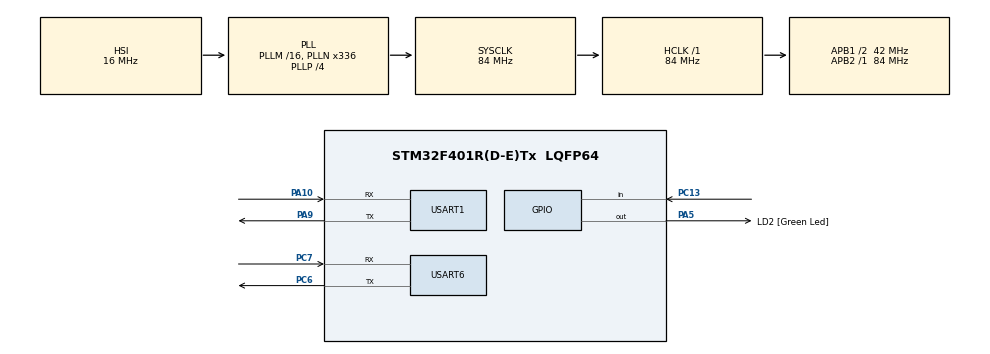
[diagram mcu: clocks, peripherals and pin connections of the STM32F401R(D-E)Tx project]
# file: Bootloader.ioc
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Mcu.Family=STM32F4
Mcu.Name=STM32F401R(D-E)Tx
Mcu.Package=LQFP64
NVIC.PriorityGroup=NVIC_PRIORITYGROUP_0
PA10.Mode=Asynchronous
PA10.Signal=USART1_RX
PA13.GPIO_Label=TMS
PA13.Mode=Serial_Wire
PA13.Signal=SYS_JTMS-SWDIO
PA14.GPIO_Label=TCK
PA14.Mode=Serial_Wire
PA14.Signal=SYS_JTCK-SWCLK
PA5.GPIO_Label=LD2 [Green Led]
PA5.GPIO_Mode=GPIO_MODE_OUTPUT_PP
PA5.GPIO_PuPd=GPIO_NOPULL
PA5.GPIO_Speed=GPIO_SPEED_FREQ_LOW
PA5.Signal=GPIO_Output
PA9.Mode=Asynchronous
PA9.Signal=USART1_TX
PB3.GPIO_Label=SWO
PB3.Signal=SYS_JTDO-SWO
PC13-ANTI_TAMP.GPIO_PuPd=GPIO_PULLUP
PC13-ANTI_TAMP.Signal=GPIO_Input
PC14-OSC32_IN.Mode=LSE-External-Oscillator
PC14-OSC32_IN.Signal=RCC_OSC32_IN
PC15-OSC32_OUT.Mode=LSE-External-Oscillator
PC15-OSC32_OUT.Signal=RCC_OSC32_OUT
PC6.Mode=Asynchronous
PC6.Signal=USART6_TX
PC7.Mode=Asynchronous
PC7.Signal=USART6_RX
PH0\ -\ OSC_IN.Mode=HSE-External-Clock-Source
PH0\ -\ OSC_IN.Signal=RCC_OSC_IN
PH1\ -\ OSC_OUT.Mode=HSE-External-Clock-Source
PH1\ -\ OSC_OUT.Signal=RCC_OSC_OUT
ProjectManager.HeapSize=0x200
ProjectManager.StackSize=0x400
ProjectManager.TargetToolchain=STM32CubeIDE
RCC.48MHZClocksFreq_Value=48000000
RCC.AHBFreq_Value=84000000
RCC.APB1CLKDivider=RCC_HCLK_DIV2
RCC.APB1Freq_Value=42000000
RCC.APB1TimFreq_Value=84000000
RCC.APB2Freq_Value=84000000
RCC.APB2TimFreq_Value=84000000
RCC.CortexFreq_Value=84000000
RCC.HCLKFreq_Value=84000000
RCC.HSE_VALUE=8000000
RCC.HSI_VALUE=16000000
RCC.PLLN=336
RCC.PLLP=RCC_PLLP_DIV4
RCC.PLLQ=7
RCC.SYSCLKFreq_VALUE=84000000
RCC.SYSCLKSource=RCC_SYSCLKSOURCE_PLLCLK
RCC.VCOOutputFreq_Value=336000000
USART1.VirtualMode=VM_ASYNC
USART6.VirtualMode=VM_ASYNC
board=NUCLEO-F401RE

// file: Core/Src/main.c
/* USER CODE BEGIN Header */
/**
  ******************************************************************************
  * @file           : main.c
  * @brief          : Main program body
  ******************************************************************************
  * @attention
  *
  * Copyright (c) 2023 STMicroelectronics.
  * All rights reserved.
  *
  * This software is licensed under terms that can be found in the LICENSE file
  * in the root directory of this software component.
  * If no LICENSE file comes with this software, it is provided AS-IS.
  *
  ******************************************************************************
  */
/* USER CODE END Header */
#include "main.h"

/* USER CODE BEGIN Includes */
#include <stdio.h>
#include <stdlib.h>
#include "stm32f4xx_hal_flash.h"
#include <string.h>
#include <FLASH_SECTOR_F4.h>
//#include <etx_ota_update.h>
/* USER CODE END Includes */

/* USER CODE BEGIN PTD */
# define version_0 0
# define version_1 1

/* USER CODE END PTD */

/* USER CODE BEGIN PD */
const uint8_t bootloader_version[2] = {version_0,version_1};
GPIO_PinState status_of_GPIO = GPIO_PIN_SET;
char pdata[1024];
char receive_byte[3];
char temp[16];
uint32_t update_firmware_address = 0X08060000;
int numPackets;
int sofar = 0;
/* USER CODE END PD */

UART_HandleTypeDef huart1;
UART_HandleTypeDef huart6;
//CRC_HandleTypeDef hcrc;

void SystemClock_Config(void);
static void MX_GPIO_Init(void);
static void MX_USART1_UART_Init(void);
static void MX_USART6_UART_Init(void);
/* USER CODE BEGIN PFP */
void run_application(void);

/* USER CODE END PFP */

/* USER CODE BEGIN 0 */
void run_application(void){

	printf("Jumping to application \r\n");
	uint8_t ch[] = "Jumping to application \r\n";
	HAL_UART_Transmit(&huart1, ch, sizeof(ch), HAL_MAX_DELAY);
	void (*reset_handler_applicaiton)(void) = (void*)(*(volatile uint32_t*)(0X08040000+4));

	HAL_GPIO_WritePin(GPIOA, GPIO_PIN_5, GPIO_PIN_RESET); //turn off led

	reset_handler_applicaiton();

	//set MSP - in STM32 cube - startup file takes care - so not required

}
/* USER CODE END 0 */

int main(void)
{

  /* MCU Configuration--------------------------------------------------------*/

  /* Reset of all peripherals, Initializes the Flash interface and the Systick. */
  HAL_Init();

  /* Configure the system clock */
  SystemClock_Config();

  /* Initialize all configured peripherals */
  MX_GPIO_Init();
  MX_USART1_UART_Init();
  MX_USART6_UART_Init();
  /* USER CODE BEGIN 2 */
  printf("*****Bootloader Started*****\r\n");
  HAL_GPIO_WritePin(GPIOA, GPIO_PIN_5, GPIO_PIN_SET); //turn on led
  HAL_Delay(1000);
  char pdat[] = "UART data received sandesh \n";

  status_of_GPIO = HAL_GPIO_ReadPin(GPIOC, GPIO_PIN_13);
  if(status_of_GPIO == GPIO_PIN_RESET){

	  HAL_UART_Receive(&huart6, (uint8_t*)temp, (uint16_t)sizeof(temp), 15000);
	  temp[sizeof(temp) - 1] = '\0';
	  printf("Received data : %s \r \n", temp);

	  if (strncmp((char *)temp, "START", 5) == 0) {
	      // "START" command received
	      if (sscanf(temp, "START%d", &numPackets) == 1) {
	          // numPackets now contains the number of packets received
	          printf("Received Start Bit for Firmware Update. Number of Packets: %d\r\n", numPackets);

	          // Now you can use the numPackets value to handle the firmware update process.
	      } else {
	          // Handle parsing error
	          printf("Error parsing the number of packets.\r\n");
	          goto run_bootloader_while_loop;
	      }
	  }

	  for(int i=0;i<=numPackets;i++)
	  {

		  HAL_UART_Receive(&huart6, (uint8_t*)pdata, (uint16_t)sizeof(pdata), 15000);
		  if (strstr((char*)pdata, "STOP") != NULL) {
			  printf("Firmware Updated");
			  break;
		  }
		  else{
			  printf("Packet Received");
			  /*Flash_Write_Data((uint32_t)(update_firmware_address), pdata, sizeof(pdata));
			  update_firmware_address=update_firmware_address+1024;
			  HAL_UART_Transmit(&huart6,(uint8_t *) "OK", sizeof("OK"), 15000);*/

			  HAL_FLASH_Unlock();

			  while(sofar<1024){
				  if (HAL_FLASH_Program(FLASH_TYPEPROGRAM_BYTE, update_firmware_address, pdata[sofar]) == HAL_OK)
						 {
							 update_firmware_address++;  // use StartPageAddress += 2 for half word and 8 for double word
							 sofar++;
						 }
						 else
						 {
						   /* Error occurred while writing data in Flash memory*/
							 return HAL_FLASH_GetError ();
						 }
			  }
			  sofar = 0;
			  HAL_UART_Transmit(&huart6,(uint8_t *) "OK", sizeof("OK"), 15000);
			  HAL_FLASH_Lock();

		  }
	  }
	  HAL_Delay(100);
  }
  //run_application();
  /* USER CODE END 2 */

  /* Infinite loop */
  /* USER CODE BEGIN WHILE */
  void (*firmware_update_applicaiton)(void) = (void*)(*(volatile uint32_t*)(0X08060000+4));
  firmware_update_applicaiton();
  run_bootloader_while_loop:
  while (1)
  {
    /* USER CODE END WHILE */

    /* USER CODE BEGIN 3 */
	  //HAL_UART_Transmit(&huart6, (uint8_t*)pdat , sizeof(pdat), 1000);
	  printf("*****Inside Bootloader While Loop*****\r\n");
	  HAL_Delay(500);
	  HAL_GPIO_TogglePin(GPIOA, GPIO_PIN_5);
	  //(uint32_t *)application_address = 0x080600004;

  }
  /* USER CODE END 3 */
}

void SystemClock_Config(void)
{
  RCC_OscInitTypeDef RCC_OscInitStruct = {0};
  RCC_ClkInitTypeDef RCC_ClkInitStruct = {0};

  /** Configure the main internal regulator output voltage
  */
  __HAL_RCC_PWR_CLK_ENABLE();
  __HAL_PWR_VOLTAGESCALING_CONFIG(PWR_REGULATOR_VOLTAGE_SCALE2);

  /** Initializes the RCC Oscillators according to the specified parameters
  * in the RCC_OscInitTypeDef structure.
  */
  RCC_OscInitStruct.OscillatorType = RCC_OSCILLATORTYPE_HSI;
  RCC_OscInitStruct.HSIState = RCC_HSI_ON;
  RCC_OscInitStruct.HSICalibrationValue = RCC_HSICALIBRATION_DEFAULT;
  RCC_OscInitStruct.PLL.PLLState = RCC_PLL_ON;
  RCC_OscInitStruct.PLL.PLLSource = RCC_PLLSOURCE_HSI;
  RCC_OscInitStruct.PLL.PLLM = 16;
  RCC_OscInitStruct.PLL.PLLN = 336;
  RCC_OscInitStruct.PLL.PLLP = RCC_PLLP_DIV4;
  RCC_OscInitStruct.PLL.PLLQ = 7;
  if (HAL_RCC_OscConfig(&RCC_OscInitStruct) != HAL_OK)
  {
    Error_Handler();
  }

  /** Initializes the CPU, AHB and APB buses clocks
  */
  RCC_ClkInitStruct.ClockType = RCC_CLOCKTYPE_HCLK|RCC_CLOCKTYPE_SYSCLK
                              |RCC_CLOCKTYPE_PCLK1|RCC_CLOCKTYPE_PCLK2;
  RCC_ClkInitStruct.SYSCLKSource = RCC_SYSCLKSOURCE_PLLCLK;
  RCC_ClkInitStruct.AHBCLKDivider = RCC_SYSCLK_DIV1;
  RCC_ClkInitStruct.APB1CLKDivider = RCC_HCLK_DIV2;
  RCC_ClkInitStruct.APB2CLKDivider = RCC_HCLK_DIV1;

  if (HAL_RCC_ClockConfig(&RCC_ClkInitStruct, FLASH_LATENCY_2) != HAL_OK)
  {
    Error_Handler();
  }
}

static void MX_USART1_UART_Init(void)
{

  huart1.Instance = USART1;
  huart1.Init.BaudRate = 115200;
  huart1.Init.WordLength = UART_WORDLENGTH_8B;
  huart1.Init.StopBits = UART_STOPBITS_1;
  huart1.Init.Parity = UART_PARITY_NONE;
  huart1.Init.Mode = UART_MODE_TX_RX;
  huart1.Init.HwFlowCtl = UART_HWCONTROL_NONE;
  huart1.Init.OverSampling = UART_OVERSAMPLING_16;
  if (HAL_UART_Init(&huart1) != HAL_OK)
  {
    Error_Handler();
  }

}

static void MX_USART6_UART_Init(void)
{

  huart6.Instance = USART6;
  huart6.Init.BaudRate = 115200;
  huart6.Init.WordLength = UART_WORDLENGTH_8B;
  huart6.Init.StopBits = UART_STOPBITS_1;
  huart6.Init.Parity = UART_PARITY_NONE;
  huart6.Init.Mode = UART_MODE_TX_RX;
  huart6.Init.HwFlowCtl = UART_HWCONTROL_NONE;
  huart6.Init.OverSampling = UART_OVERSAMPLING_16;
  if (HAL_UART_Init(&huart6) != HAL_OK)
  {
    Error_Handler();
  }

}

static void MX_GPIO_Init(void)
{
  GPIO_InitTypeDef GPIO_InitStruct = {0};

  /* GPIO Ports Clock Enable */
  __HAL_RCC_GPIOC_CLK_ENABLE();
  __HAL_RCC_GPIOH_CLK_ENABLE();
  __HAL_RCC_GPIOA_CLK_ENABLE();
  __HAL_RCC_GPIOB_CLK_ENABLE();

  /*Configure GPIO pin Output Level */
  HAL_GPIO_WritePin(LD2_GPIO_Port, LD2_Pin, GPIO_PIN_RESET);

  /*Configure GPIO pin : PC13 */
  GPIO_InitStruct.Pin = GPIO_PIN_13;
  GPIO_InitStruct.Mode = GPIO_MODE_INPUT;
  GPIO_InitStruct.Pull = GPIO_PULLUP;
  HAL_GPIO_Init(GPIOC, &GPIO_InitStruct);

  /*Configure GPIO pin : LD2_Pin */
  GPIO_InitStruct.Pin = LD2_Pin;
  GPIO_InitStruct.Mode = GPIO_MODE_OUTPUT_PP;
  GPIO_InitStruct.Pull = GPIO_NOPULL;
  GPIO_InitStruct.Speed = GPIO_SPEED_FREQ_LOW;
  HAL_GPIO_Init(LD2_GPIO_Port, &GPIO_InitStruct);

}

/* USER CODE BEGIN 4 */
/*#ifdef __GNUC__
int __io_putchar(int ch)
#else
int fputc(int ch, FILE *f)
#endif
{
	HAL_UART_Transmit(&huart2,(uint8_t *)&ch, 1, HAL_MAX_DELAY);
	return ch;
}

int _write(int file, char *ptr, int len)
{
	HAL_UART_Transmit(&huart2,(uint8_t *)&ptr, len, HAL_MAX_DELAY);
	return(len);
} */
/* USER CODE END 4 */

void Error_Handler(void)
{
  __disable_irq();
  while (1)
  {
  }
}
